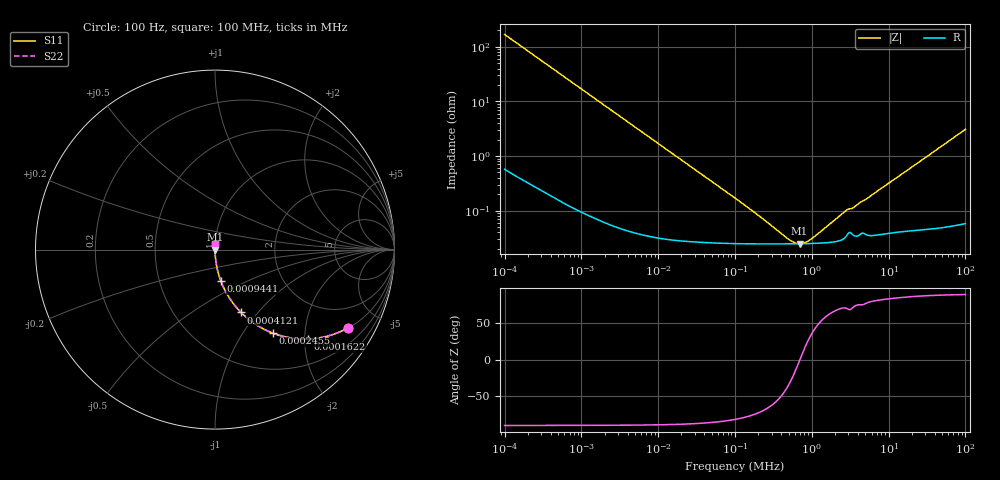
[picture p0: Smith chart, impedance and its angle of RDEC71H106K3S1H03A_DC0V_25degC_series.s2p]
!Murata Part Number: RDEC71H106K3S1H03A
!These Parameters are Measured in Series Mode Connection
!  o--ll--o
!Port1  Port2
!  o------o
!Operation Temp=25[degC], DC Bias Voltage=0[V]
!Freq. Start=100[Hz] Stop=100[MHz], 401[Steps]
!Data Generated on Dec 23, 2019
# Hz S RI R 50
!Freq.(Hz) S11(Real) S11(Imag) S21(Real) S21(Imag) S12(Real) S12(Imag) S22(Real) S22(Imag)
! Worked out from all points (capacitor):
!   401 points, 100 Hz to 100 MHz, reference 50 ohm
!   read as one part in series: C = 9.43 uF near 107.2 Hz
!   lowest |Z| = 24.7 mohm at 691.8 kHz (marker M1)
!   series resonance near 699.8 kHz, so ESL is about 5.5 nH
!   S11 on the Smith chart (normalised r, x): 100 Hz: 1.01, -3.37; 162.2 Hz: 1.01, -2.08; 245.5 Hz: 1.01, -1.38; 412.1 Hz: 1.00, -0.82; 944.1 Hz: 1.00, -0.36; 100 MHz: 1.00, +0.06
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100  0.7391 -0.4375  0.2609 0.4375  0.2609 0.4375  0.7391 -0.4375
118.8502  0.6677 -0.4693  0.3323 0.4693  0.3323 0.4693  0.6677 -0.4693
162.181  0.5198 -0.4978  0.4802 0.4978  0.4802 0.4978  0.5198 -0.4978
245.4709  0.322 -0.4653  0.678 0.4653  0.678 0.4653  0.322 -0.4653
323.5937  0.2154 -0.409  0.7846 0.409  0.7846 0.409  0.2154 -0.409
412.0975  0.1453 -0.3502  0.8547 0.3502  0.8547 0.3502  0.1453 -0.3502
602.5596  0.0742 -0.2598  0.9258 0.2598  0.9258 0.2598  0.0742 -0.2598
944.0609  0.0321 -0.1736  0.9679 0.1736  0.9679 0.1736  0.0321 -0.1736
1011.579  0.0282 -0.1627  0.9718 0.1627  0.9718 0.1627  0.0282 -0.1627
2660.725  0.00457 -0.0636  0.9954 0.0636  0.9954 0.0636  0.00457 -0.0636
10232.93  0.000589 -0.0167  0.9994 0.0167  0.9994 0.0167  0.000589 -0.0167
100000  0.000251 -0.00168  0.9997 0.00168  0.9997 0.00168  0.000251 -0.00168
213796.2  0.000246 -0.000728  0.9998 0.000728  0.9998 0.000728  0.000246 -0.000728
489778.8  0.000246 -0.000179  0.9998 0.000179  0.9998 0.000179  0.000246 -0.000179
582103.2  0.000246 -9.08e-05  0.9998 9.08e-05  0.9998 9.08e-05  0.000246 -9.08e-05
691831  0.000247 -5.53e-06  0.9998 5.53e-06  0.9998 5.53e-06  0.000247 -5.53e-06
822242.6  0.000248 7.96e-05  0.9998 -7.96e-05  0.9998 -7.96e-05  0.000248 7.96e-05
1011579  0.00025 0.000185  0.9998 -0.000185  0.9998 -0.000185  0.00025 0.000185
2754229  0.000329 0.000929  0.9997 -0.000929  0.9997 -0.000929  0.000329 0.000929
3507519  0.000351 0.00108  0.9996 -0.00108  0.9996 -0.00108  0.000351 0.00108
1.023293e7  0.000395 0.00321  0.9996 -0.00321  0.9996 -0.00321  0.000395 0.00321
1e8  0.00152 0.0308  0.9985 -0.0308  0.9985 -0.0308  0.00152 0.0308
